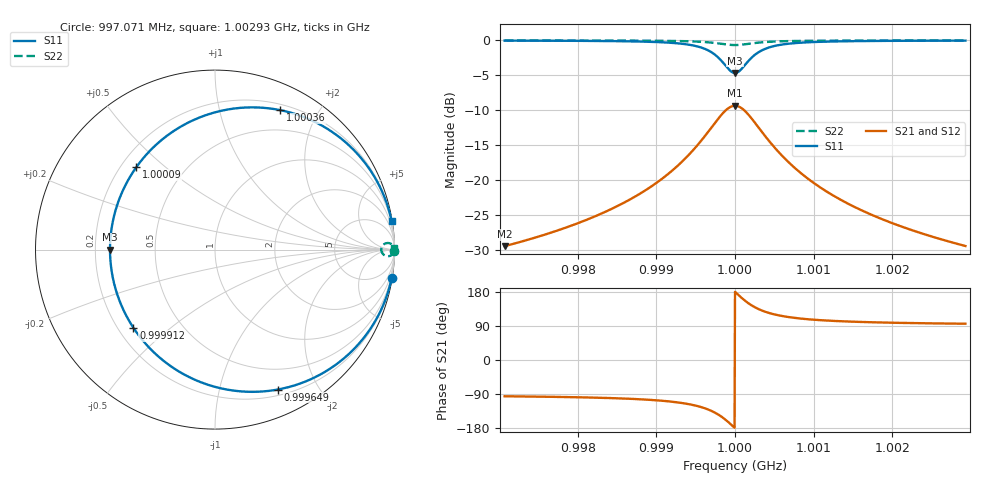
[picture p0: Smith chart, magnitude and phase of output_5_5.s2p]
! File generated for n1 = 5, n2 = 5
! b1 = 4.641589
! b2 = 0.215443
! Q0 = 10000.000000
! f0 = 1000000000.000000
! n = 1001
! rel_span = 10.000000
# Hz S RI R 50
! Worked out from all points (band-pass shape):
!   1001 points, 997.071 MHz to 1.00293 GHz, reference 50 ohm
!   highest |S21| = -9.33 dB at 1 GHz (marker M1); lowest = -29.4 dB at 997.071 MHz (marker M2)
!   |S21| within 3 dB of the highest: 999.7079 MHz to 1.000292 GHz (584.3 kHz wide, 0.0584 % of centre)
!   lowest |S11| = -4.7 dB at 1 GHz (marker M3), VSWR 3.82, Z = 13.1 + j0 ohm
!   |S11| at or under -10 dB: nowhere
!   |S22| runs from -0.7 to 0.0 dB; largest |S21 - S12| = 0
!   S11 on the Smith chart (normalised r, x): 997.071 MHz: 0, -13; 999.649 MHz: 0.26, -1.51; 999.912 MHz: 0.26, -0.38; 1.00009 GHz: 0.26, +0.40; 1.00036 GHz: 0.26, +1.54; 1.00293 GHz: 0, +13
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9.970715e8  0.9844 -0.1567  -0.00337 -0.0338  -0.00337 -0.0338  0.9993 -0.00727
9.980496e8  0.9651 -0.2325  -0.00751 -0.0501  -0.00751 -0.0501  0.9984 -0.0108
9.98606e8  0.9331 -0.3187  -0.0144 -0.0687  -0.0144 -0.0687  0.9969 -0.0148
9.990277e8  0.8683 -0.4375  -0.0284 -0.0943  -0.0284 -0.0943  0.9939 -0.0203
9.994026e8  0.6931 -0.6263  -0.0661 -0.1349  -0.0661 -0.1349  0.9858 -0.0291
9.995373e8  0.5468 -0.7162  -0.0976 -0.1543  -0.0976 -0.1543  0.979 -0.0332
9.996486e8  0.3506 -0.7795  -0.1399 -0.1679  -0.1399 -0.1679  0.9699 -0.0362
9.99795e8  -0.0637 -0.7446  -0.2292 -0.1604  -0.2292 -0.1604  0.9506 -0.0346
9.998536e8  -0.2679 -0.634  -0.2732 -0.1366  -0.2732 -0.1366  0.9411 -0.0294
9.999121e8  -0.4541 -0.4362  -0.3133 -0.094  -0.3133 -0.094  0.9325 -0.0202
1e9  -0.585 0  -0.3415 0  -0.3415 0  0.9264 0
1.000047e9  -0.5454 0.2473  -0.3329 0.0533  -0.3329 0.0533  0.9283 0.0115
1.000094e9  -0.4378 0.4601  -0.3098 0.0991  -0.3098 0.0991  0.9333 0.0214
1.000146e9  -0.268 0.634  -0.2732 0.1366  -0.2732 0.1366  0.9411 0.0294
1.000205e9  -0.0638 0.7446  -0.2292 0.1604  -0.2292 0.1604  0.9506 0.0346
1.000269e9  0.1415 0.7897  -0.185 0.1701  -0.185 0.1701  0.9602 0.0367
1.000357e9  0.3629 0.7771  -0.1373 0.1674  -0.1373 0.1674  0.9704 0.0361
1.000469e9  0.5546 0.7124  -0.096 0.1535  -0.096 0.1535  0.9793 0.0331
1.000603e9  0.6976 0.6228  -0.0652 0.1342  -0.0652 0.1342  0.986 0.0289
1.000978e9  0.8695 0.4357  -0.0281 0.0939  -0.0281 0.0939  0.9939 0.0202
1.001956e9  0.9652 0.2323  -0.0075 0.05  -0.0075 0.05  0.9984 0.0108
1.002929e9  0.9843 0.1572  -0.00339 0.0339  -0.00339 0.0339  0.9993 0.00729
